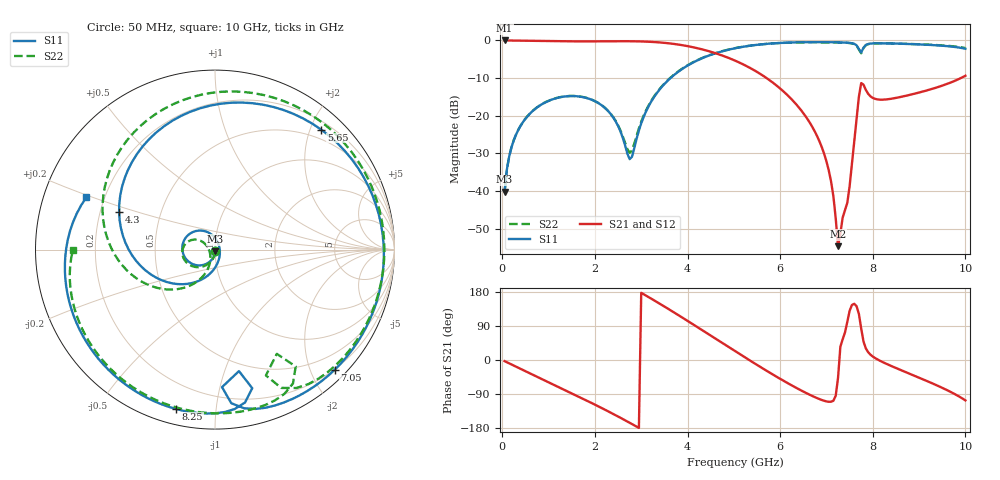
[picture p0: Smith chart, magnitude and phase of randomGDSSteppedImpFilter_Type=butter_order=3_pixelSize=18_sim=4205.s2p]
! freq	dB(S11)	phase(S11)	dB(S12)	phase(S12)
!  dB(S21)	phase(S21)	dB(S22)	phase(S22)
!S-par simulation data
#  GHz  S  DB  R 50
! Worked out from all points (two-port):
!   200 points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, 50 MHz to 10 GHz, reference 50 ohm
!   highest |S21| = -0.02 dB at 50 MHz (marker M1); lowest = -54.6 dB at 7.25 GHz (marker M2)
!   |S21| within 3 dB of the highest: start of sweep to 4.503 GHz
!   lowest |S11| = -40.1 dB at 50 MHz (marker M3), VSWR 1.02, Z = 50.1 - j0.981 ohm
!   |S11| at or under -10 dB: start of sweep to 3.631 GHz
!   |S22| runs from -40.1 to -0.5 dB; largest |S21 - S12| = 0
!   S11 on the Smith chart (normalised r, x): 50 MHz: 1.00, -0.02; 4.3 GHz: 0.28, +0.18; 5.65 GHz: 0.33, +2.18; 7.05 GHz: 0.19, -2.39; 8.25 GHz: 0.07, -0.78; 10 GHz: 0.13, +0.19
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0.05  -40.11 -82.4  -0.02 -3.0  -0.02 -3.0  -40.10 -82.1
0.2  -28.31 -99.4  -0.04 -11.9  -0.04 -11.9  -28.28 -97.8
0.5  -20.78 -120.7  -0.10 -29.6  -0.10 -29.6  -20.75 -116.8
1.15  -15.38 -162.6  -0.23 -67.6  -0.23 -67.6  -15.35 -152.9
1.75  -15.08 158.2  -0.28 -102.8  -0.28 -102.8  -15.05 175.7
2.35  -19.68 112.1  -0.23 -139.5  -0.23 -139.5  -19.61 149.7
2.75  -31.51 16.2  -0.23 -165.6  -0.23 -165.6  -29.80 -165.9
3.4  -12.98 -124.1  -0.55 148.6  -0.55 148.6  -12.85 -122.5
3.85  -7.87 -163.3  -1.20 114.8  -1.20 114.8  -7.79 -150.0
4.3  -4.82 158.5  -2.34 80.1  -2.34 80.1  -4.76 179.1
5.05  -2.03 96.0  -5.50 21.6  -5.50 21.6  -2.00 124.8
5.65  -0.99 48.5  -9.53 -24.2  -9.53 -24.2  -0.99 79.9
6.15  -0.60 12.1  -14.43 -60.2  -14.43 -60.2  -0.62 42.7
6.7  -0.47 -24.1  -23.08 -95.3  -23.08 -95.3  -0.50 3.3
7.05  -0.49 -45.2  -34.52 -110.3  -34.52 -110.3  -0.52 -20.6
7.25  -0.53 -56.9  -54.60 -47.1  -54.60 -47.1  -0.56 -34.0
7.45  -0.62 -68.9  -43.09 100.6  -43.09 100.6  -0.66 -47.6
7.75  -3.22 -78.9  -11.33 83.1  -11.33 83.1  -3.41 -59.3
8.25  -0.78 -103.8  -15.71 -7.6  -15.71 -7.6  -0.79 -87.1
8.35  -0.80 -108.9  -15.58 -13.2  -15.58 -13.2  -0.81 -92.7
9.3  -1.25 -157.5  -12.80 -62.4  -12.80 -62.4  -1.19 -141.6
10  -2.23 157.9  -9.38 -106.6  -9.38 -106.6  -2.02 -179.7
